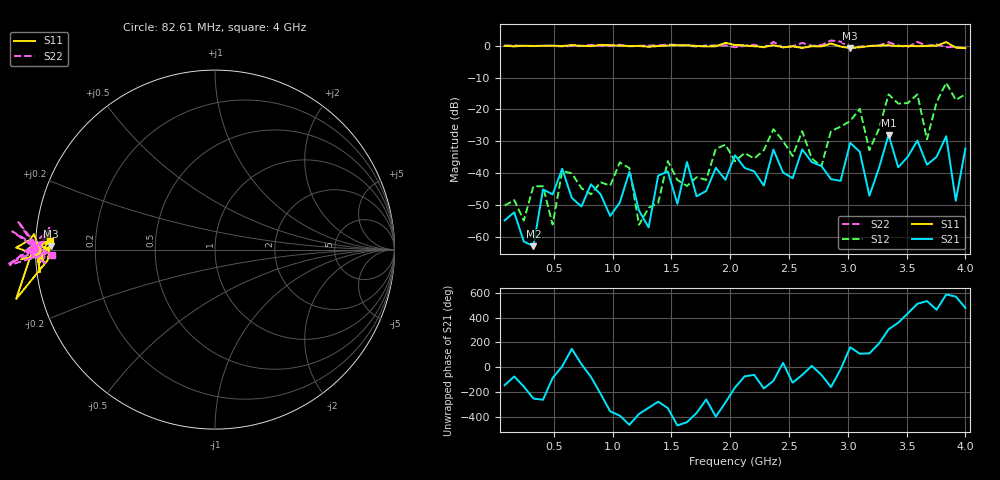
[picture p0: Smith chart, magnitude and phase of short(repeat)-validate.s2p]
!Created with skrf (http://scikit-rf.org).
# GHz S DB R 50.0
!freq dBS11 angS11 dBS21 angS21 dBS12 angS12 dBS22 angS22
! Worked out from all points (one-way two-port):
!   49 points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, 82.61 MHz to 4 GHz, reference 50 ohm
!   highest |S21| = -27.96 dB at 3.347 GHz (marker M1); lowest = -62.9 dB at 327.4 MHz (marker M2)
!   lowest |S11| = -0.8 dB at 3.021 GHz (marker M3), VSWR 22.69, Z = 2.2 + j0.497 ohm
!   |S11| at or under -10 dB: nowhere
!   |S22| runs from -0.8 to 1.7 dB; largest |S21 - S12| = 0.23
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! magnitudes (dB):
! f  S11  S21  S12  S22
! 82.61 MHz  0.0  -54.8  -50.2  0.1
! 327.4 MHz  -0.1  -62.9  -44.1  0.0
! 490.7 MHz  0.0  -46.7  -56.1  0.0
! 572.3 MHz  -0.1  -38.6  -39.3  -0.2
! 735.5 MHz  0.0  -50.5  -44.7  -0.1
! 1.144 GHz  -0.1  -39.5  -38.4  -0.2
! 1.225 GHz  -0.1  -51.7  -56.2  0.0
! 1.307 GHz  -0.3  -57.0  -50.9  0.1
! 1.388 GHz  -0.1  -40.8  -49.3  0.1
! 1.47 GHz  0.1  -39.5  -36.2  0.4
! 1.552 GHz  0.2  -49.6  -42.1  0.2
! 2.041 GHz  0.3  -34.4  -36.2  -0.5
! 2.368 GHz  0.2  -32.6  -26.2  1.2
! 2.776 GHz  -0.2  -37.7  -37.8  0.2
! 3.021 GHz  -0.8  -30.5  -23.6  -0.6
! 3.184 GHz  -0.1  -47.1  -32.7  -0.1
! 3.347 GHz  0.2  -28.0  -15.3  1.1
! 3.429 GHz  -0.1  -38.2  -18.2  0.1
! 3.674 GHz  -0.1  -37.3  -29.4  0.0
! 3.837 GHz  1.2  -28.4  -11.6  -0.4
! 3.918 GHz  -0.6  -48.7  -17.0  -0.4
! 4 GHz  -0.7  -32.3  -15.2  -0.8
